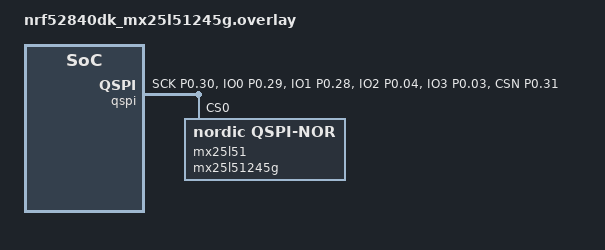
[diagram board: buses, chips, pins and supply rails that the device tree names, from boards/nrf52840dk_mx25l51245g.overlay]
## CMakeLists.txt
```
# SPDX-License-Identifier: Apache-2.0

cmake_minimum_required(VERSION 3.20.0)
find_package(Zephyr REQUIRED HINTS $ENV{ZEPHYR_BASE})
project(nrf_qspi_nor)

FILE(GLOB app_sources src/*.c)
target_sources(app PRIVATE ${app_sources})
```

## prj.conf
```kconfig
CONFIG_TEST=y
CONFIG_ZTEST=y
CONFIG_FLASH=y
CONFIG_FLASH_PAGE_LAYOUT=y
CONFIG_MAIN_STACK_SIZE=2048
```

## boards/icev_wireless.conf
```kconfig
CONFIG_HEAP_MEM_POOL_SIZE=16384
```

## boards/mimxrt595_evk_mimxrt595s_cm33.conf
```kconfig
#
# Copyright (c) 2022 NXP.
# SPDX-License-Identifier: Apache-2.0
#

CONFIG_FLASH_MCUX_FLEXSPI_NOR_WRITE_BUFFER=y
```

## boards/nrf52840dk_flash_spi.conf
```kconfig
CONFIG_SPI=y
CONFIG_SPI_NOR=y
CONFIG_SOC_FLASH_NRF=n
```

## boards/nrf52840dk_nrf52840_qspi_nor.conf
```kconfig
# Minimal configuration for testing flash driver
# on nrf52840dk/nrf52840 board

CONFIG_NORDIC_QSPI_NOR=y
CONFIG_NORDIC_QSPI_NOR_FLASH_LAYOUT_PAGE_SIZE=4096
CONFIG_SOC_FLASH_NRF=n
```

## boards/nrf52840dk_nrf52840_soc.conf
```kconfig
# Minimal configuration for testing flash driver
# on nrf52840dk/nrf52840 board

CONFIG_MPU_ALLOW_FLASH_WRITE=y
CONFIG_NORDIC_QSPI_NOR=n
```

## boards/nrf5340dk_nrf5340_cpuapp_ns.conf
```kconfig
CONFIG_FCB=y
CONFIG_FLASH_MAP=y
CONFIG_SETTINGS=y
CONFIG_SETTINGS_FCB=y
```

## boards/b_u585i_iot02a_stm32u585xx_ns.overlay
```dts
/*
 * Copyright (c) 2022, STMicroelectronics
 *
 * SPDX-License-Identifier: Apache-2.0
 */
 /{
	chosen {
		zephyr,code-partition = &slot0_ns_partition;
	};
};

&flash0 {
	partitions {
	/delete-node/ slot0_partition;
		/* Non-secure image primary slot */
		slot0_ns_partition: partition@98000 {
			label = "image-0-nonsecure";
			reg = <0x00098000 DT_SIZE_K(512)>;
		};
	};
};
```

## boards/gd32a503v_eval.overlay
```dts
/*
 * Copyright (c) 2023, BrainCo Inc.
 *
 * SPDX-License-Identifier: Apache-2.0
 */

&flash0 {
	partitions {
		compatible = "fixed-partitions";
		#address-cells = <1>;
		#size-cells = <1>;

		/* Set 4KB of storage at the border of bank0(256KB) and bank1(128KB). */
		storage_partition: partition@3f800 {
			label = "storage";
			reg = <0x0003f800 DT_SIZE_K(4)>;
		};
	};
};

/* To avoid test on nor_flash, disable it. */
&nor_flash {
	status = "disabled";
};
```

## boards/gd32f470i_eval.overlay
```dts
/*
 * Copyright (c) 2023, BrainCo Inc.
 *
 * SPDX-License-Identifier: Apache-2.0
 */

&flash0 {
	partitions {
		compatible = "fixed-partitions";
		#address-cells = <1>;
		#size-cells = <1>;

		/* Set 512KB of storage at the end of 3072KB flash */
		storage_partition: partition@280000 {
			label = "storage";
			reg = <0x00280000 DT_SIZE_K(512)>;
		};
	};
};

/* To avoid test on nor_flash, disable it. */
&nor_flash {
	status = "disabled";
};
```

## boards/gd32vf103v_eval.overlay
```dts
/*
 * Copyright (c) 2023, BrainCo Inc.
 *
 * SPDX-License-Identifier: Apache-2.0
 */

&flash0 {
	partitions {
		compatible = "fixed-partitions";
		#address-cells = <1>;
		#size-cells = <1>;

		/* Set 2KB of storage at the end of 128KB flash */
		storage_partition: partition@1f800 {
			label = "storage";
			reg = <0x0001f800 DT_SIZE_K(2)>;
		};
	};
};

/* To avoid test on nor_flash, disable it. */
&nor_flash {
	status = "disabled";
};
```

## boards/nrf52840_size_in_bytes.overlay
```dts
/*
 * Copyright (c) 2022, Nordic Semiconductor ASA
 *
 * SPDX-License-Identifier: Apache-2.0
 */

&mx25r64 {
	/delete-property/ size;
	size-in-bytes = <8388608>;
};
```

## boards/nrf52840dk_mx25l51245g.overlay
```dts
/*
 * Copyright (c) 2022 Nordic Semiconductor ASA
 *
 * SPDX-License-Identifier: Apache-2.0
 */

/delete-node/ &mx25r64;

&pinctrl {
	qspi_default: qspi_default {
		group1 {
			psels = <NRF_PSEL(QSPI_SCK, 0, 30)>,
				<NRF_PSEL(QSPI_IO0, 0, 29)>,
				<NRF_PSEL(QSPI_IO1, 0, 28)>,
				<NRF_PSEL(QSPI_IO2, 0, 04)>,
				<NRF_PSEL(QSPI_IO3, 0, 03)>,
				<NRF_PSEL(QSPI_CSN, 0, 31)>;
		};
	};
	qspi_sleep: qspi_sleep {
		group1 {
			psels = <NRF_PSEL(QSPI_SCK, 0, 30)>,
				<NRF_PSEL(QSPI_IO0, 0, 29)>,
				<NRF_PSEL(QSPI_IO1, 0, 28)>,
				<NRF_PSEL(QSPI_IO2, 0, 04)>,
				<NRF_PSEL(QSPI_IO3, 0, 03)>;
			low-power-enable;
		};
		group2 {
			psels = <NRF_PSEL(QSPI_CSN, 0, 31)>;
			low-power-enable;
			bias-pull-up;
		};
	};
};

&qspi {
	pinctrl-0 = <&qspi_default>;
	pinctrl-1 = <&qspi_sleep>;
	pinctrl-names = "default", "sleep";

	mx25l51: mx25l51245g@0 {
		compatible = "nordic,qspi-nor";
		reg = <0>;
		/* MX25L5145G supports only pp and pp4io */
		writeoc = "pp4io";
		/* MX25L5145G supports all readoc options */
		readoc = "read4io";
		sck-frequency = <2000000>;
		jedec-id = [c2 20 1A];
		sfdp-bfp = [
			e5 20 fb ff  1f ff ff ff  44 eb 08 6b  08 3b 04 bb
			fe ff ff ff  ff ff 00 ff  ff ff 44 eb  0c 20 0f 52
			10 d8 00 ff  d6 49 c5 00  81 df 04 e3  44 03 67 38
			30 b0 30 b0  f7 bd d5 5c  4a 9e 29 ff  f0 50 f9 85
		];
		size = <0x20000000>;
		has-dpd;
		t-enter-dpd = <10000>;
		t-exit-dpd = <30000>;
		enter-4byte-addr = <0x85>;
		address-size-32;
	};
};
```

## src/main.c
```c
/*
 * Copyright (c) 2020-2024 Nordic Semiconductor ASA
 *
 * SPDX-License-Identifier: Apache-2.0
 */

#include <zephyr/kernel.h>
#include <zephyr/ztest.h>
#include <zephyr/drivers/flash.h>
#include <zephyr/devicetree.h>
#include <zephyr/storage/flash_map.h>

#if defined(CONFIG_NORDIC_QSPI_NOR)
#define TEST_AREA_DEV_NODE	DT_INST(0, nordic_qspi_nor)
#elif defined(CONFIG_SPI_NOR)
#define TEST_AREA_DEV_NODE	DT_INST(0, jedec_spi_nor)
#else
#define TEST_AREA	storage_partition
#endif

/* TEST_AREA is only defined for configurations that realy on
 * fixed-partition nodes.
 */
#ifdef TEST_AREA
#define TEST_AREA_OFFSET	FIXED_PARTITION_OFFSET(TEST_AREA)
#define TEST_AREA_SIZE		FIXED_PARTITION_SIZE(TEST_AREA)
#define TEST_AREA_MAX		(TEST_AREA_OFFSET + TEST_AREA_SIZE)
#define TEST_AREA_DEVICE	FIXED_PARTITION_DEVICE(TEST_AREA)

#elif defined(TEST_AREA_DEV_NODE)

#define TEST_AREA_DEVICE	DEVICE_DT_GET(TEST_AREA_DEV_NODE)
#define TEST_AREA_OFFSET	0xff000

#if DT_NODE_HAS_PROP(TEST_AREA_DEV_NODE, size_in_bytes)
#define TEST_AREA_MAX DT_PROP(TEST_AREA_DEV_NODE, size_in_bytes)
#else
#define TEST_AREA_MAX (DT_PROP(TEST_AREA_DEV_NODE, size) / 8)
#endif

#else
#error "Unsupported configuraiton"
#endif

#define EXPECTED_SIZE	512

#if !defined(CONFIG_FLASH_HAS_EXPLICIT_ERASE) &&		\
	!defined(CONFIG_FLASH_HAS_NO_EXPLICIT_ERASE)
#error There is no flash device enabled or it is missing Kconfig options
#endif

static const struct device *const flash_dev = TEST_AREA_DEVICE;
static struct flash_pages_info page_info;
static uint8_t __aligned(4) expected[EXPECTED_SIZE];
static uint8_t erase_value;
static bool ebw_required;

static void *flash_driver_setup(void)
{
	int rc;

	TC_PRINT("Test will run on device %s\n", flash_dev->name);
	zassert_true(device_is_ready(flash_dev));

	/* Check for erase is only needed when there is mix of devices */
	if (IS_ENABLED(CONFIG_FLASH_HAS_EXPLICIT_ERASE)) {
		const struct flash_parameters *fparams = flash_get_parameters(flash_dev);

		erase_value = fparams->erase_value;
		ebw_required = flash_params_get_erase_cap(fparams) & FLASH_ERASE_C_EXPLICIT;
		/* For tests purposes use page (in nrf_qspi_nor page = 64 kB) */
		flash_get_page_info_by_offs(flash_dev, TEST_AREA_OFFSET,
					    &page_info);
	} else {
		TC_PRINT("No devices with erase requirement present\n");
		erase_value = 0x55;
		page_info.start_offset = TEST_AREA_OFFSET;
		page_info.size = TEST_AREA_MAX - TEST_AREA_OFFSET;
	}


	/* Check if test region is not empty */
	uint8_t buf[EXPECTED_SIZE];

	rc = flash_read(flash_dev, TEST_AREA_OFFSET,
			buf, EXPECTED_SIZE);
	zassert_equal(rc, 0, "Cannot read flash");

	/* Fill test buffer with random data */
	for (int i = 0, val = 0; i < EXPECTED_SIZE; i++, val++) {
		/* Skip erase value */
		if (val == erase_value) {
			val++;
		}
		expected[i] = val;
	}

	/* Check if tested region fits in flash */
	zassert_true((TEST_AREA_OFFSET + EXPECTED_SIZE) <= TEST_AREA_MAX,
		     "Test area exceeds flash size");

	/* Check if flash is cleared */
	if (IS_ENABLED(CONFIG_FLASH_HAS_EXPLICIT_ERASE) && ebw_required) {
		bool is_buf_clear = true;

		for (off_t i = 0; i < EXPECTED_SIZE; i++) {
			if (buf[i] != erase_value) {
				is_buf_clear = false;
				break;
			}
		}

		if (!is_buf_clear) {
			/* Erase a nb of pages aligned to the EXPECTED_SIZE */
			rc = flash_erase(flash_dev, page_info.start_offset,
					(page_info.size *
					((EXPECTED_SIZE + page_info.size - 1)
					/ page_info.size)));

			zassert_equal(rc, 0, "Flash memory not properly erased");
		}
	}

	return NULL;
}

ZTEST(flash_driver, test_read_unaligned_address)
{
	int rc;
	uint8_t buf[EXPECTED_SIZE];
	const uint8_t canary = erase_value;
	uint32_t start;

	if (IS_ENABLED(CONFIG_FLASH_HAS_EXPLICIT_ERASE) && ebw_required) {
		start = page_info.start_offset;
		/* Erase a nb of pages aligned to the EXPECTED_SIZE */
		rc = flash_erase(flash_dev, page_info.start_offset,
				(page_info.size *
				((EXPECTED_SIZE + page_info.size - 1)
				/ page_info.size)));

		zassert_equal(rc, 0, "Flash memory not properly erased");
	} else {
		start = TEST_AREA_OFFSET;
	}

	rc = flash_write(flash_dev,
			 start,
			 expected, EXPECTED_SIZE);
	zassert_equal(rc, 0, "Cannot write to flash");

	/* read buffer length*/
	for (off_t len = 0; len < 25; len++) {
		/* address offset */
		for (off_t ad_o = 0; ad_o < 4; ad_o++) {
			/* buffer offset; leave space for buffer guard */
			for (off_t buf_o = 1; buf_o < 5; buf_o++) {
				/* buffer overflow protection */
				buf[buf_o - 1] = canary;
				buf[buf_o + len] = canary;
				memset(buf + buf_o, 0, len);
				rc = flash_read(flash_dev,
						start + ad_o,
						buf + buf_o, len);
				zassert_equal(rc, 0, "Cannot read flash");
				zassert_equal(memcmp(buf + buf_o,
						expected + ad_o,
						len),
					0, "Flash read failed at len=%d, "
					"ad_o=%d, buf_o=%d", len, ad_o, buf_o);
				/* check buffer guards */
				zassert_equal(buf[buf_o - 1], canary,
					"Buffer underflow at len=%d, "
					"ad_o=%d, buf_o=%d", len, ad_o, buf_o);
				zassert_equal(buf[buf_o + len], canary,
					"Buffer overflow at len=%d, "
					"ad_o=%d, buf_o=%d", len, ad_o, buf_o);
			}
		}
	}
}

ZTEST(flash_driver, test_flash_fill)
{
	uint8_t buf[EXPECTED_SIZE];
	int rc;
	off_t i;

	if (IS_ENABLED(CONFIG_FLASH_HAS_EXPLICIT_ERASE) && ebw_required) {
		/* Erase a nb of pages aligned to the EXPECTED_SIZE */
		rc = flash_erase(flash_dev, page_info.start_offset,
				(page_info.size *
				((EXPECTED_SIZE + page_info.size - 1)
				/ page_info.size)));

		zassert_equal(rc, 0, "Flash memory not properly erased");
	} else {
		rc = flash_fill(flash_dev, 0x55, page_info.start_offset,
				(page_info.size *
				((EXPECTED_SIZE + page_info.size - 1)
				/ page_info.size)));
		zassert_equal(rc, 0, "Leveling memory with fill failed\n");
	}

	/* Fill the device with 0xaa */
	rc = flash_fill(flash_dev, 0xaa, page_info.start_offset,
			(page_info.size *
			((EXPECTED_SIZE + page_info.size - 1)
			/ page_info.size)));
	zassert_equal(rc, 0, "Fill failed\n");

	rc = flash_read(flash_dev, TEST_AREA_OFFSET,
			buf, EXPECTED_SIZE);
	zassert_equal(rc, 0, "Cannot read flash");

	for (i = 0; i < EXPECTED_SIZE; i++) {
		if (buf[i] != 0xaa) {
			break;
		}
	}
	zassert_equal(i, EXPECTED_SIZE, "Expected device to be filled wth 0xaa");
}

ZTEST(flash_driver, test_flash_flatten)
{
	uint8_t buf[EXPECTED_SIZE];
	int rc;
	off_t i;

	rc = flash_flatten(flash_dev, page_info.start_offset,
			   (page_info.size *
			   ((EXPECTED_SIZE + page_info.size - 1)
			   / page_info.size)));

	zassert_equal(rc, 0, "Flash not leveled not properly erased");

	/* Fill the device with 0xaa */
	rc = flash_fill(flash_dev, 0xaa, page_info.start_offset,
			(page_info.size *
			((EXPECTED_SIZE + page_info.size - 1)
			/ page_info.size)));
	zassert_equal(rc, 0, "Fill failed\n");

	rc = flash_read(flash_dev, TEST_AREA_OFFSET,
			buf, EXPECTED_SIZE);
	zassert_equal(rc, 0, "Cannot read flash");

	for (i = 0; i < EXPECTED_SIZE; i++) {
		if (buf[i] != 0xaa) {
			break;
		}
	}
	zassert_equal(i, EXPECTED_SIZE, "Expected device to be filled wth 0xaa");
}


ZTEST_SUITE(flash_driver, NULL, flash_driver_setup, NULL, NULL, NULL);
```
